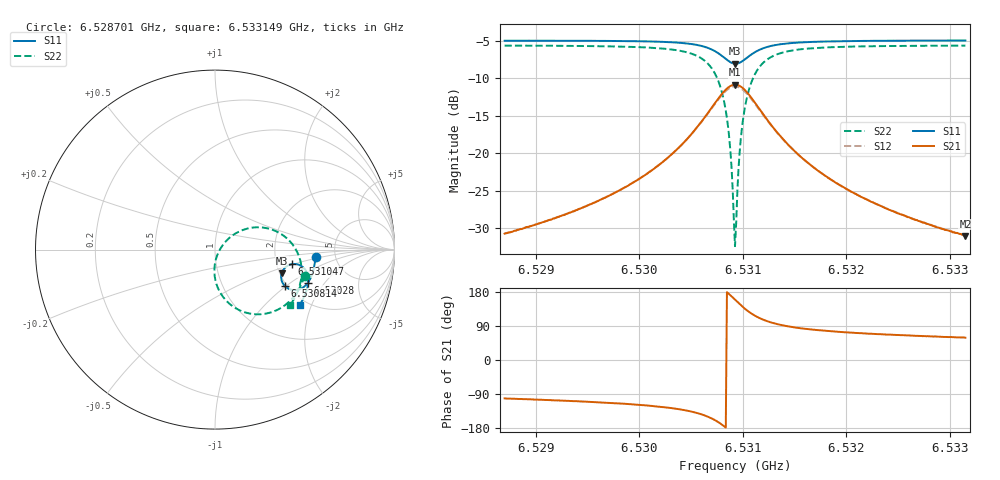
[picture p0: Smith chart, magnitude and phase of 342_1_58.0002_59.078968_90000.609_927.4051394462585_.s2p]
#  HZ  S  RI  R  50.00
! Rohde & Schwarz Vector Network Analyzer
! Rohde-Schwarz,ZNB20-2Port,1311601062101988,3.16
! Created: UTC 3/21/2024, 1:05:39 AM
! freq[Hz]  re:S11  im:S11  re:S21  im:S21  re:S12  im:S12  re:S22  im:S22
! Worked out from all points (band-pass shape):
!   401 points, 6.528701 GHz to 6.533149 GHz, reference 50 ohm
!   highest |S21| = -10.88 dB at 6.530925 GHz (marker M1); lowest = -31.0 dB at 6.533149 GHz (marker M2)
!   |S21| within 3 dB of the highest: 6.530703 GHz to 6.531149 GHz (445.3 kHz wide, 0.00682 % of centre)
!   lowest |S11| = -8.1 dB at 6.530925 GHz (marker M3), VSWR 2.30, Z = 102 - j32.1 ohm
!   |S11| at or under -10 dB: nowhere
!   |S22| runs from -32.4 to -5.7 dB; largest |S21 - S12| = 0.011
!   S11 on the Smith chart (normalised r, x): 6.528701 GHz: 3.51, -0.42; 6.53028 GHz: 2.62, -1.38; 6.530814 GHz: 1.95, -0.97; 6.531047 GHz: 2.43, -0.49; 6.533149 GHz: 1.82, -1.65
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6.528701e9  0.56 -0.0409  -0.00571 -0.0285  -0.0063 -0.0285  0.5004 -0.1445
6.529446e9  0.5512 -0.1021  -0.0143 -0.0407  -0.0153 -0.0404  0.4721 -0.212
6.5301911e9  0.5247 -0.1736  -0.0454 -0.0699  -0.0473 -0.0689  0.3964 -0.305
6.53028e9  0.5181 -0.1838  -0.0547 -0.0759  -0.0568 -0.0746  0.3764 -0.3194
6.5304802e9  0.4942 -0.2083  -0.09 -0.0911  -0.0926 -0.0882  0.3056 -0.3514
6.530647e9  0.4548 -0.2249  -0.1513 -0.0949  -0.1534 -0.0891  0.1925 -0.356
6.5307471e9  0.4163 -0.2207  -0.2111 -0.072  -0.2107 -0.0636  0.0903 -0.3095
6.5308138e9  0.3877 -0.2014  -0.2537 -0.0284  -0.2498 -0.0193  0.0235 -0.2293
6.5308694e9  0.371 -0.1708  -0.2752 0.031  -0.2677 0.0384  -0.00334 -0.1268
6.5309028e9  0.3688 -0.148  -0.2746 0.0733  -0.2656 0.0787  0.00401 -0.0571
6.5309139e9  0.3697 -0.14  -0.2716 0.0875  -0.2624 0.092  0.0112 -0.0341
6.530925e9  0.3713 -0.1324  -0.2672 0.1014  -0.2577 0.1051  0.0208 -0.0119
6.5309361e9  0.3741 -0.1249  -0.2615 0.1148  -0.2519 0.1177  0.0325 0.00929
6.5309472e9  0.3774 -0.1177  -0.2545 0.1277  -0.2449 0.1296  0.046 0.0291
6.5309695e9  0.3862 -0.105  -0.237 0.1504  -0.228 0.1508  0.0782 0.0637
6.5309917e9  0.3972 -0.0947  -0.2164 0.1687  -0.2082 0.1678  0.115 0.0905
6.5310473e9  0.4284 -0.0811  -0.1598 0.1938  -0.1543 0.1913  0.2129 0.1231
6.5311252e9  0.4666 -0.0845  -0.0924 0.1921  -0.0896 0.1897  0.3263 0.1081
6.5312364e9  0.4988 -0.1069  -0.0357 0.1627  -0.0342 0.1614  0.4188 0.0446
6.53167e9  0.5201 -0.1825  0.0139 0.0805  0.0148 0.0802  0.4828 -0.1309
6.5324151e9  0.4997 -0.2553  0.0164 0.0386  0.0172 0.0383  0.4553 -0.246
6.533149e9  0.4714 -0.3089  0.0145 0.024  0.0151 0.0239  0.4195 -0.3081
